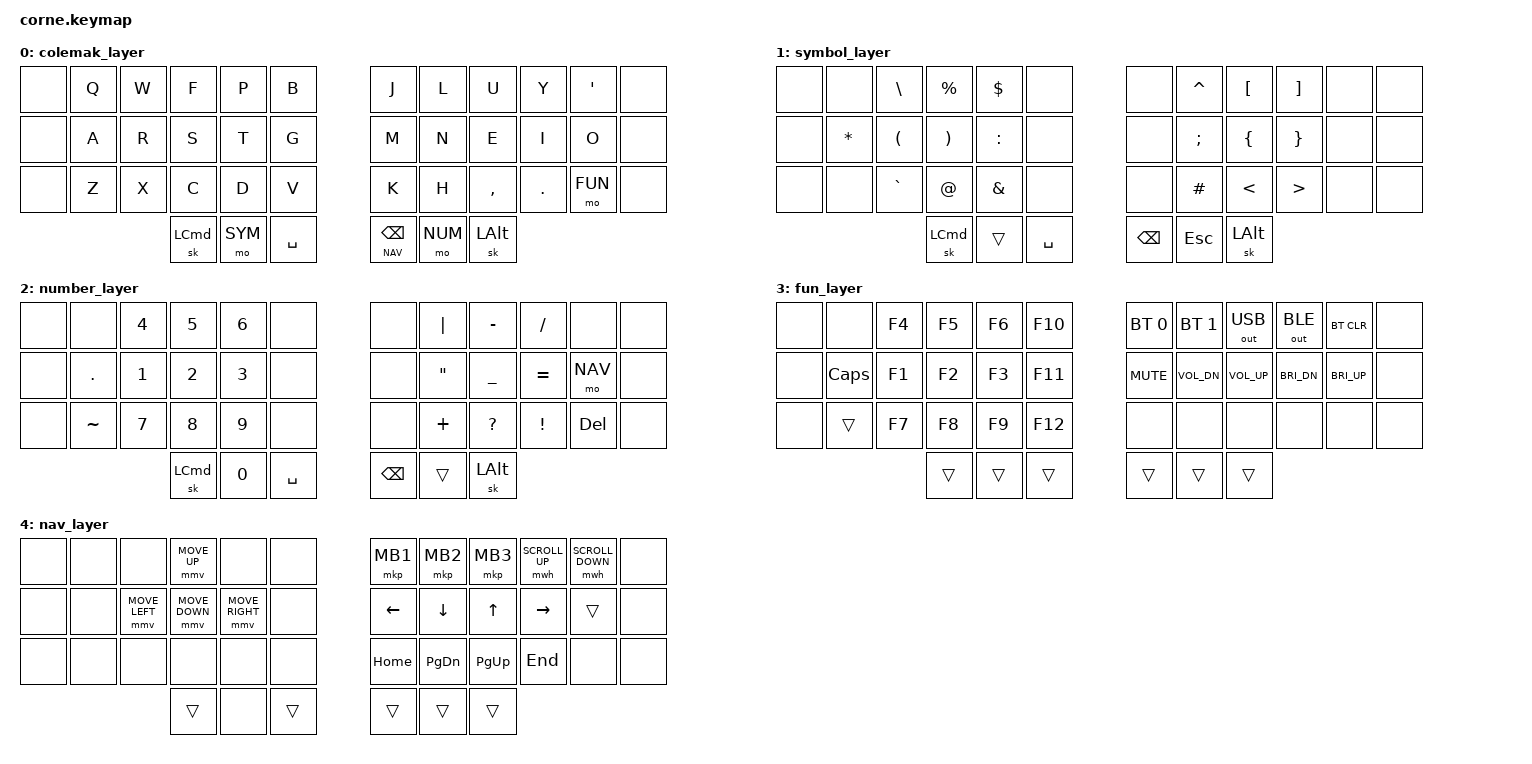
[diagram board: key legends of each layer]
/*
 * Copyright (c) 2020 The ZMK Contributors
 *
 * SPDX-License-Identifier: MIT
 */


#include <behaviors.dtsi>
#include <dt-bindings/zmk/keys.h>
#include <dt-bindings/zmk/bt.h>
#include <dt-bindings/zmk/outputs.h>
#include <dt-bindings/zmk/ext_power.h>
#include <dt-bindings/zmk/mouse.h>
 
#define CMK 0
#define SYM 1
#define NUM 2
#define FUN 3
#define NAV 4

&caps_word {
   continue-list = <UNDERSCORE MINUS BACKSPACE>;
};


/ {

    behaviors {
        skq: sticky_key_quick_release {
            compatible = "zmk,behavior-sticky-key";
            label = "STICKY_KEY_QUICK_RELEASE";
            #binding-cells = <1>;
            bindings = <&kp>;
            release-after-ms = <1000>;
            quick-release;
        };
    };

    combos {
        compatible = "zmk,combos";
        combo_wf_tab {
            layers = <0 1 2 3 4 5>;
            timeout-ms = <50>;
            // W + F
            key-positions = <2 3>;
            bindings = <&kp TAB>;
        };
        combo_uy_del {
            layers = <0 1 2 3 4 5>;
            timeout-ms = <50>;
            // U + Y
            key-positions = <8 9>;
            bindings = <&kp DEL>;
        };
        combo_gm_capsword {
            layers = <0 1 2 3 4 5>;
            timeout-ms = <100>;
            // G + M
            key-positions = <17 18>;
            bindings = <&caps_word>;
        };
        combo_xc_ctrl {
            layers = <0 1 2 3 4 5>;
            timeout-ms = <50>;
            // Z + X
            key-positions = <26 27>;
            bindings = <&sk LCTL>;
        };
        combo_commadot_shift {
            layers = <0 1 2 3 4 5>;
            timeout-ms = <50>;
            // , + . = shift
            key-positions = <32 33>;
            bindings = <&skq LSHFT>;
        };
        combo_cmd {
            layers = <0 1 2 3 4 5>;
            timeout-ms = <50>;
            // SYM + SPC = CMD
            key-positions = <37 38>;
            bindings = <&sk LCMD>;
        };
        combo_opt {
            layers = <0 1 2 3 4 5>;
            timeout-ms = <50>;
            // NUM + ENT = OPT
            key-positions = <39 40>;
            bindings = <&sk LALT>;
        };
        combo_opt_alt {
            layers = <0 1 2 3 4 5>;
            timeout-ms = <50>;
            // SYM + SPC = CMD
            key-positions = <7 8>;
            bindings = <&sk LALT>;
        };
        combo_cmd_alt {
            layers = <0 1 2 3 4 5>;
            timeout-ms = <50>;
            // NUM + ENT = OPT
            key-positions = <3 4>;
            bindings = <&sk LCMD>;
        };
        combo_ent {
            layers = <0 1 2 3 4 5>;
            timeout-ms = <80>;
            // SPC + BSPC = ENT
            key-positions = <38 39>;
            bindings = <&kp RET>;
        };
    };
};



/ {
        keymap {
                compatible = "zmk,keymap";
                colemak_layer {
// ---------------------------------------------------------------------------
// |     |  Q  |  W  |  F  |  P  |  B  | |  J  |  L  |  U  |  Y  |  '  |     |
// |     |  A  |  R  |  S  |  T  |  G  | |  M  |  N  |  E  |  I  |  O  |     |
// |     |  Z  |  X  |  C  |  D  |  V  | |  K  |  H  |  ,  |  .  |  ?  |     |
//                   |     |-SYM-| SPC | | BSPC |-NUM-|     |
                        bindings = <
   &none &kp Q &kp W &kp F &kp P &kp B &kp J &kp L   &kp U     &kp Y   &kp SQT  &none
   &none &kp A &kp R &kp S &kp T &kp G &kp M &kp N   &kp E     &kp I   &kp O    &none
   &none &kp Z &kp X &kp C &kp D &kp V &kp K &kp H   &kp COMMA &kp DOT &mo FUN  &none
            &sk LCMD &mo SYM &kp SPACE &lt NAV BSPC &mo NUM &sk LALT
                        >;
                };
                symbol_layer {
// ---------------------------------------------------------------------------
// |     |     |  \  |  %  |  $  |     | |     |  ^  |  [  |  ]  |     |     |
// |     |  *  |  (  |  )  |  :  |     | |     |  ;  |  {  |  }  |     |     |
// |     |     |  `  |  @  |  &  |     | |     |  #  |  <  |  >  |     |     |
//                   |     |_SYM_| SPACE | | BSPC | ESC |     |
                        bindings = <
   &none &none    &kp BSLH  &kp PRCNT &kp DLLR  &none &none &kp CARET &kp LBKT &kp RBKT &none    &none
   &none &kp STAR &kp LPAR  &kp RPAR  &kp COLON &none &none &kp SEMI  &kp LBRC &kp RBRC &none    &none
   &none &none    &kp GRAVE &kp AT    &kp AMPS  &none &none &kp HASH  &kp LT   &kp GT   &none    &none
                             &sk LCMD &trans &kp SPACE &kp BSPC &kp ESC &sk LALT
                        >;
                };
                number_layer {
// ---------------------------------------------------------------------------
// |     |     |  4  |  5  |  6  |     | |     |  |  |  -  |  /  |     |     |
// |     |  .  |  1  |  2  |  3  |     | |     |  "  |  _  |  =  |-NAV-|     |
// |     |  ~  |  7  |  8  |  9  |     | |     |  +  |  ?  |  !  | DEL |     |
//                   |     |  0  | SPC | | RET |_NUM_|     |
                        bindings = <
   &none &none     &kp N4 &kp N5 &kp N6 &none &none &kp PIPE &kp MINUS &kp FSLH  &none &none
   &none &kp DOT   &kp N1 &kp N2 &kp N3 &none &none &kp DQT  &kp UNDER &kp EQUAL &mo NAV  &none 
   &none &kp TILDE &kp N7 &kp N8 &kp N9 &none &none &kp PLUS &kp QMARK  &kp EXCL &kp DEL &none
                 &sk LCMD &kp N0 &kp SPACE &kp BSPC  &trans    &sk LALT
                        >;
                };
                fun_layer {
// ---------------------------------------------------------------------------
// |     |     | F 6 | F 5 | F 4 | F10 | | BT0 | BT1 | USB | BLE |BTCLR|     |
// |     |CAPSL| F 3 | F 2 | F 1 | F11 | |VMUTE|VOLDN|VOLUP|BRIDN|BRIUP|     |
// |     |_FUN_| F 9 | F 8 | F 7 | F12 | |     |     |     |     |     |     |
//                   |     |_SYM_| SPC | | BSPC|     |     |
                        bindings = <
   &none &none    &kp F4 &kp F5 &kp F6 &kp F10    &bt BT_SEL 0 &bt BT_SEL 1  &out OUT_USB &out OUT_BLE &bt BT_CLR   &none
   &none &kp CAPS &kp F1 &kp F2 &kp F3 &kp F11    &kp K_MUTE   &kp C_VOL_DN  &kp C_VOL_UP &kp C_BRI_DN &kp C_BRI_UP &none
   &none &trans   &kp F7 &kp F8 &kp F9 &kp F12    &none        &none         &none        &none        &none        &none
                         &trans &trans &trans &trans &trans &trans 
                        >;
                };
                nav_layer {
// ---------------------------------------------------------------------------
// |     |     |     |     |     |     | |     |     |     |     |     |     |
// |     |     |     |     |     |     | | LFT | DWN | U P |RIGHT|_NAV_|     |
// |     |     |     |     |     |     | | HOM |PG_DN|PG_UP| END |     |     |
//                   |     |     | SPC | | BSPC |_NUM_|    |
                        bindings = <
   &none &none &none &mmv MOVE_UP &none &none                       &mkp MB1 &mkp MB2  &mkp MB3  &mwh SCROLL_UP &mwh SCROLL_DOWN  &none 
   &none &none &mmv MOVE_LEFT &mmv MOVE_DOWN &mmv MOVE_RIGHT &none  &kp LEFT &kp DOWN  &kp UP    &kp RIGHT &trans  &none 
   &none &none &none &none &none &none                              &kp HOME &kp PG_DN &kp PG_UP &kp END   &none &none 
                         &trans &none &trans                                &trans &trans &trans
                        >;
                };
        };
};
